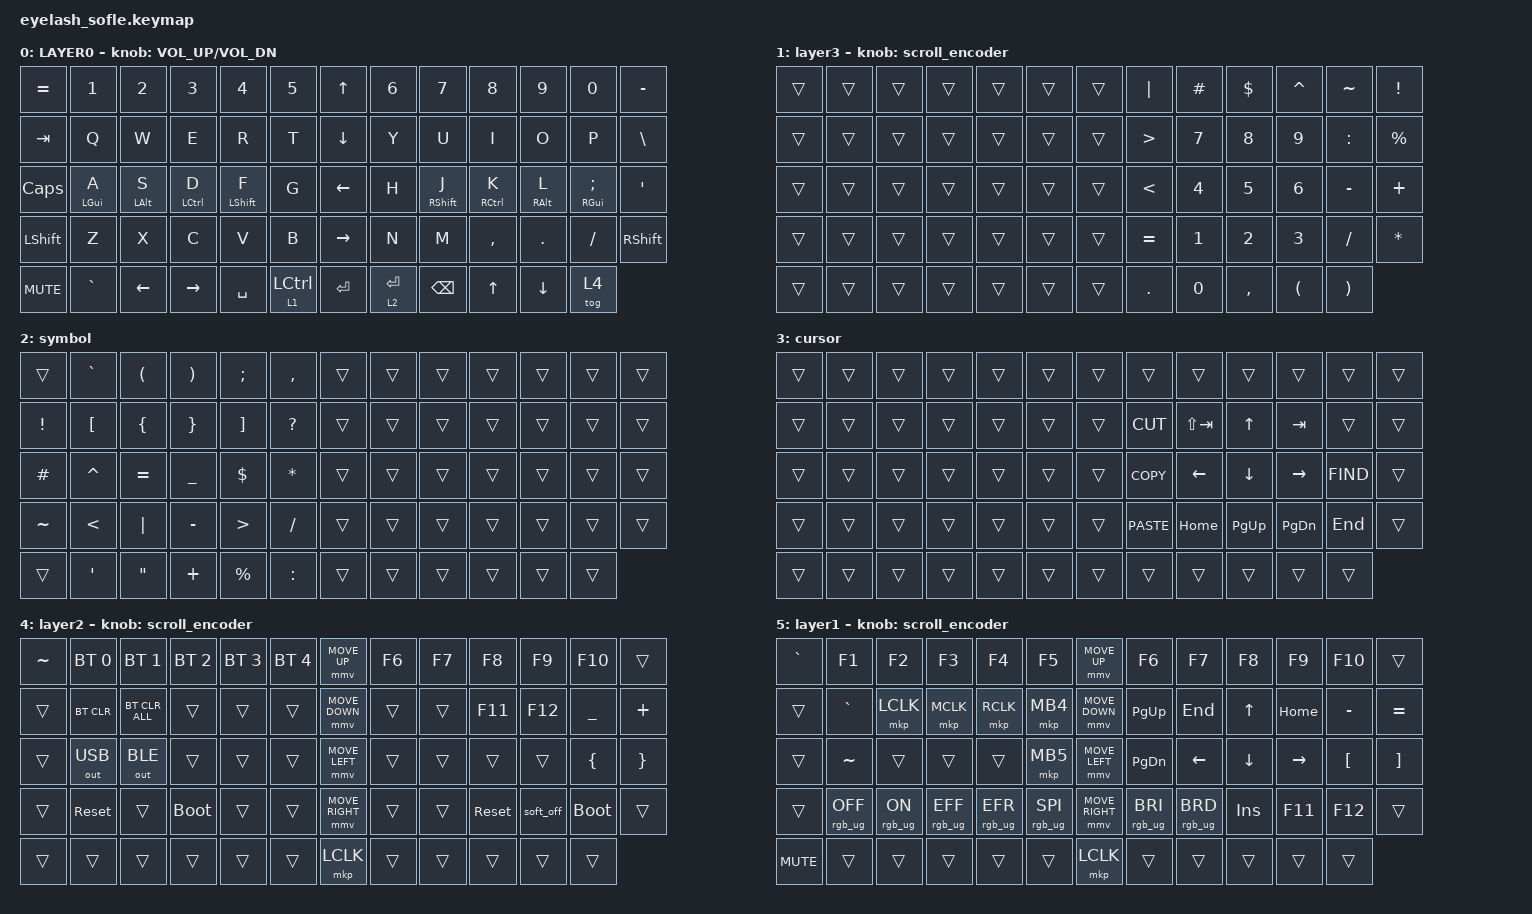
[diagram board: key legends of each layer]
#define ZMK_POINTING_DEFAULT_MOVE_VAL 1200  // 600
#define ZMK_POINTING_DEFAULT_SCRL_VAL 25   // 10

#include <input/processors.dtsi>
#include <zephyr/dt-bindings/input/input-event-codes.h>
#include <behaviors.dtsi>
#include <dt-bindings/zmk/bt.h>
#include <dt-bindings/zmk/keys.h>
#include <dt-bindings/zmk/outputs.h>
#include <dt-bindings/zmk/pointing.h>
#include <dt-bindings/zmk/rgb.h>

&mmv_input_listener { input-processors = <&zip_xy_scaler 2 1>; };

&msc_input_listener { input-processors = <&zip_scroll_scaler 2 1>; };

&msc {
    acceleration-exponent = <1>;      // 0
    time-to-max-speed-ms = <100>;       // 300
    delay-ms = <0>;                   // 0
};

&mmv {
    time-to-max-speed-ms = <500>;
    acceleration-exponent = <1>;
    trigger-period-ms = <16>;
};

&soft_off { hold-time-ms = <2000>; };

/ {
    scroll_encoder: scroll_encoder {
        compatible = "zmk,behavior-sensor-rotate";
        #sensor-binding-cells = <0>;
        bindings = <&msc SCRL_DOWN>, <&msc SCRL_UP>;

        tap-ms = <100>;
    };

    hrm: hrm {
        compatible = "zmk,behavior-hold-tap";
        label = "HRM";
        bindings = <&kp>, <&kp>;

        #binding-cells = <2>;
        tapping-term-ms = <300>;
        flavor = "tap-preferred";
        require-prior-idle-ms = <150>;
    };

    behaviors {
    };

    combos {
        compatible = "zmk,combos";

        softoff {
            bindings = <&soft_off>;
            key-positions = <14 28 40>;
        };
    };

    macros {
        SHIFT_MCLK: SHIFT_MCLK {
            compatible = "zmk,behavior-macro";
            #binding-cells = <0>;
            bindings =
                <&macro_press>,
                <&kp LEFT_SHIFT>,
                <&macro_press>,
                <&mkp MB3>,
                <&macro_pause_for_release>,
                <&macro_release>,
                <&kp LEFT_SHIFT &mkp MB3>;

            label = "SHIFT_MCLK";
        };
    };

    keymap {
        compatible = "zmk,keymap";

        main {
            bindings = <
&kp EQUAL   &kp N1           &kp N2           &kp N3               &kp N4             &kp N5         &kp UP_ARROW     &kp N6       &kp N7              &kp N8                &kp N9            &kp N0               &kp MINUS
&kp TAB     &kp Q            &kp W            &kp E                &kp R              &kp T          &kp DOWN_ARROW   &kp Y        &kp U               &kp I                 &kp O             &kp P                &kp BSLH
&kp CAPS    &hrm LEFT_GUI A  &hrm LEFT_ALT S  &hrm LEFT_CONTROL D  &hrm LEFT_SHIFT F  &kp G          &kp LEFT_ARROW   &kp H        &hrm RIGHT_SHIFT J  &hrm RIGHT_CONTROL K  &hrm RIGHT_ALT L  &hrm RIGHT_GUI SEMI  &kp APOS
&kp LSHFT   &kp Z            &kp X            &kp C                &kp V              &kp B          &kp RIGHT_ARROW  &kp N        &kp M               &kp COMMA             &kp DOT           &kp FSLH             &kp RIGHT_SHIFT
&kp C_MUTE  &kp GRAVE        &kp LEFT         &kp RIGHT            &kp SPACE          &lt 1 LCTRL    &kp ENTER        &lt 2 ENTER  &kp BACKSPACE       &kp UP_ARROW          &kp DOWN          &tog 4
            >;

            sensor-bindings = <&inc_dec_kp C_VOLUME_UP C_VOL_DN>;
            display-name = "LAYER0";
        };

        number {
            bindings = <
&trans  &trans  &trans  &trans  &trans  &trans    &trans  &kp PIPE          &kp HASH  &kp DOLLAR  &kp CARET             &kp TILDE              &kp EXCLAMATION
&trans  &trans  &trans  &trans  &trans  &trans    &trans  &kp GREATER_THAN  &kp N7    &kp N8      &kp N9                &kp COLON              &kp PERCENT
&trans  &trans  &trans  &trans  &trans  &trans    &trans  &kp LESS_THAN     &kp N4    &kp N5      &kp N6                &kp MINUS              &kp PLUS
&trans  &trans  &trans  &trans  &trans  &trans    &trans  &kp EQUAL         &kp N1    &kp N2      &kp N3                &kp SLASH              &kp ASTERISK
&trans  &trans  &trans  &trans  &trans  &trans    &trans  &kp DOT           &kp N0    &kp COMMA   &kp LEFT_PARENTHESIS  &kp RIGHT_PARENTHESIS
            >;

            display-name = "layer3";
            sensor-bindings = <&scroll_encoder>;
        };

        symbol {
            bindings = <
&trans           &kp GRAVE         &kp LEFT_PARENTHESIS  &kp RIGHT_PARENTHESIS  &kp SEMICOLON      &kp COMMA       &trans  &trans  &trans  &trans  &trans  &trans  &trans
&kp EXCLAMATION  &kp LEFT_BRACKET  &kp LEFT_BRACE        &kp RIGHT_BRACE        &kp RIGHT_BRACKET  &kp QUESTION    &trans  &trans  &trans  &trans  &trans  &trans  &trans
&kp HASH         &kp CARET         &kp EQUAL             &kp UNDERSCORE         &kp DOLLAR         &kp ASTERISK    &trans  &trans  &trans  &trans  &trans  &trans  &trans
&kp TILDE        &kp LESS_THAN     &kp PIPE              &kp MINUS              &kp GREATER_THAN   &kp SLASH       &trans  &trans  &trans  &trans  &trans  &trans  &trans
&trans           &kp SINGLE_QUOTE  &kp DOUBLE_QUOTES     &kp PLUS               &kp PERCENT        &kp COLON       &trans  &trans  &trans  &trans  &trans  &trans
            >;
        };

        cursor {
            bindings = <
&trans  &trans  &trans  &trans  &trans  &trans    &trans  &trans       &trans       &trans        &trans         &trans      &trans
&trans  &trans  &trans  &trans  &trans  &trans    &trans  &kp K_CUT    &kp LS(TAB)  &kp UP_ARROW  &kp TAB        &trans      &trans
&trans  &trans  &trans  &trans  &trans  &trans    &trans  &kp K_COPY   &kp LEFT     &kp DOWN      &kp RIGHT      &kp K_FIND  &trans
&trans  &trans  &trans  &trans  &trans  &trans    &trans  &kp K_PASTE  &kp HOME     &kp PAGE_UP   &kp PAGE_DOWN  &kp END     &trans
&trans  &trans  &trans  &trans  &trans  &trans    &trans  &trans       &trans       &trans        &trans         &trans
            >;
        };

        bluetooth {
            bindings = <
&kp TILDE  &bt BT_SEL 0  &bt BT_SEL 1    &bt BT_SEL 2  &bt BT_SEL 3  &bt BT_SEL 4    &mmv MOVE_UP     &kp F6  &kp F7  &kp F8      &kp F9     &kp F10      &trans
&trans     &bt BT_CLR    &bt BT_CLR_ALL  &trans        &trans        &trans          &mmv MOVE_DOWN   &trans  &trans  &kp F11     &kp F12    &kp UNDER    &kp PLUS
&trans     &out OUT_USB  &out OUT_BLE    &trans        &trans        &trans          &mmv MOVE_LEFT   &trans  &trans  &trans      &trans     &kp LBRC     &kp RBRC
&trans     &sys_reset    &trans          &bootloader   &trans        &trans          &mmv MOVE_RIGHT  &trans  &trans  &sys_reset  &soft_off  &bootloader  &trans
&trans     &trans        &trans          &trans        &trans        &trans          &mkp LCLK        &trans  &trans  &trans      &trans     &trans
            >;

            display-name = "layer2";
            sensor-bindings = <&scroll_encoder>;
        };

        rgb {
            bindings = <
&kp GRAVE   &kp F1           &kp F2          &kp F3           &kp F4           &kp F5             &mmv MOVE_UP     &kp F6           &kp F7           &kp F8      &kp F9     &kp F10           &trans
&trans      &kp GRAVE        &mkp LCLK       &mkp MCLK        &mkp RCLK        &mkp MB4           &mmv MOVE_DOWN   &kp PG_UP        &kp END          &kp UP      &kp HOME   &kp MINUS         &kp EQUAL
&trans      &kp TILDE        &trans          &trans           &trans           &mkp MB5           &mmv MOVE_LEFT   &kp PG_DN        &kp LEFT         &kp DOWN    &kp RIGHT  &kp LEFT_BRACKET  &kp RIGHT_BRACKET
&trans      &rgb_ug RGB_OFF  &rgb_ug RGB_ON  &rgb_ug RGB_EFF  &rgb_ug RGB_EFR  &rgb_ug RGB_SPI    &mmv MOVE_RIGHT  &rgb_ug RGB_BRI  &rgb_ug RGB_BRD  &kp INSERT  &kp F11    &kp F12           &trans
&kp C_MUTE  &trans           &trans          &trans           &trans           &trans             &mkp LCLK        &trans           &trans           &trans      &trans     &trans
            >;

            display-name = "layer1";
            sensor-bindings = <&scroll_encoder>;
        };
    };
};
